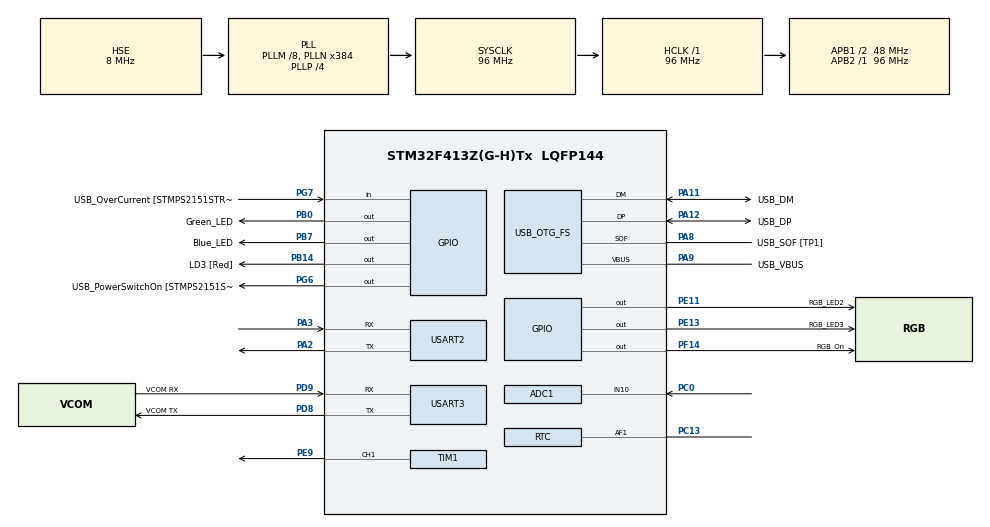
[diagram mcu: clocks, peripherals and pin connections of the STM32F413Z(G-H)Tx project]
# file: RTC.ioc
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ADC1.Channel-0\#ChannelRegularConversion=ADC_CHANNEL_10
ADC1.ContinuousConvMode=ENABLE
ADC1.DMAContinuousRequests=ENABLE
ADC1.NbrOfConversionFlag=1
ADC1.Rank-0\#ChannelRegularConversion=1
ADC1.SamplingTime-0\#ChannelRegularConversion=ADC_SAMPLETIME_144CYCLES
ADC1.master=1
Dma.ADC1.0.Direction=DMA_PERIPH_TO_MEMORY
Dma.ADC1.0.FIFOMode=DMA_FIFOMODE_DISABLE
Dma.ADC1.0.Instance=DMA2_Stream0
Dma.ADC1.0.MemDataAlignment=DMA_MDATAALIGN_HALFWORD
Dma.ADC1.0.MemInc=DMA_MINC_DISABLE
Dma.ADC1.0.Mode=DMA_CIRCULAR
Dma.ADC1.0.PeriphDataAlignment=DMA_PDATAALIGN_HALFWORD
Dma.ADC1.0.PeriphInc=DMA_PINC_DISABLE
Dma.ADC1.0.Priority=DMA_PRIORITY_LOW
Dma.Request0=ADC1
Dma.Request1=TIM1_CH1
Dma.TIM1_CH1.1.Direction=DMA_MEMORY_TO_PERIPH
Dma.TIM1_CH1.1.FIFOMode=DMA_FIFOMODE_DISABLE
Dma.TIM1_CH1.1.Instance=DMA2_Stream1
Dma.TIM1_CH1.1.MemDataAlignment=DMA_MDATAALIGN_HALFWORD
Dma.TIM1_CH1.1.MemInc=DMA_MINC_DISABLE
Dma.TIM1_CH1.1.Mode=DMA_CIRCULAR
Dma.TIM1_CH1.1.PeriphDataAlignment=DMA_PDATAALIGN_HALFWORD
Dma.TIM1_CH1.1.PeriphInc=DMA_PINC_DISABLE
Dma.TIM1_CH1.1.Priority=DMA_PRIORITY_LOW
Mcu.Family=STM32F4
Mcu.Name=STM32F413Z(G-H)Tx
Mcu.Package=LQFP144
NVIC.DMA2_Stream0_IRQn=true\:0\:0\:false\:false\:true\:false\:true
NVIC.DMA2_Stream1_IRQn=true\:0\:0\:false\:false\:true\:false\:true
NVIC.PriorityGroup=NVIC_PRIORITYGROUP_2
NVIC.RCC_IRQn=true\:2\:0\:true\:false\:true\:true\:false
NVIC.RTC_Alarm_IRQn=true\:0\:0\:false\:false\:true\:true\:true
NVIC.USART2_IRQn=true\:1\:0\:true\:false\:true\:true\:true
NVIC.USART3_IRQn=true\:1\:0\:true\:false\:true\:true\:true
PA10.GPIO_Label=USB_ID
PA10.Signal=USB_OTG_FS_ID
PA11.GPIO_Label=USB_DM
PA11.Mode=Device_Only
PA11.Signal=USB_OTG_FS_DM
PA12.GPIO_Label=USB_DP
PA12.Mode=Device_Only
PA12.Signal=USB_OTG_FS_DP
PA13.GPIO_Label=TMS
PA13.Mode=Serial_Wire
PA13.Signal=SYS_JTMS-SWDIO
PA14.GPIO_Label=TCK
PA14.Mode=Serial_Wire
PA14.Signal=SYS_JTCK-SWCLK
PA2.Mode=Asynchronous
PA2.Signal=USART2_TX
PA3.Mode=Asynchronous
PA3.Signal=USART2_RX
PA8.GPIO_Label=USB_SOF [TP1]
PA8.Mode=Activate_SOF_FS
PA8.Signal=USB_OTG_FS_SOF
PA9.GPIO_Label=USB_VBUS
PA9.Mode=Activate_VBUS
PA9.Signal=USB_OTG_FS_VBUS
PB0.GPIO_Label=Green_LED
PB0.Signal=GPIO_Output
PB14.GPIO_Label=LD3 [Red]
PB14.Signal=GPIO_Output
PB3.GPIO_Label=SWO
PB3.Signal=SYS_JTDO-SWO
PB7.GPIO_Label=Blue_LED
PB7.Signal=GPIO_Output
PC0.Signal=ADCx_IN10
PC13.Mode=Timestamp enabled - Input Enabled to AF1
PC13.Signal=RTC_AF1
PC14-OSC32_IN.Mode=LSE-External-Oscillator
PC14-OSC32_IN.Signal=RCC_OSC32_IN
PC15-OSC32_OUT.Mode=LSE-External-Oscillator
PC15-OSC32_OUT.Signal=RCC_OSC32_OUT
PD8.GPIO_Label=VCOM TX
PD8.Mode=Asynchronous
PD8.Signal=USART3_TX
PD9.GPIO_Label=VCOM RX
PD9.Mode=Asynchronous
PD9.Signal=USART3_RX
PE11.GPIO_Label=RGB_LED2
PE11.Signal=GPIO_Output
PE13.GPIO_Label=RGB_LED3
PE13.Signal=GPIO_Output
PE9.Signal=S_TIM1_CH1
PF14.GPIO_Label=RGB_On
PF14.Signal=GPIO_Output
PG14.Signal=USART6_TX
PG6.GPIO_Label=USB_PowerSwitchOn [STMPS2151STR_EN]
PG6.Signal=GPIO_Output
PG7.GPIO_Label=USB_OverCurrent [STMPS2151STR_FAULT]
PG7.Signal=GPIO_Input
PG9.Signal=USART6_RX
PH0\ -\ OSC_IN.GPIO_Label=MCO
PH0\ -\ OSC_IN.Mode=HSE-External-Clock-Source
PH0\ -\ OSC_IN.Signal=RCC_OSC_IN
PH1\ -\ OSC_OUT.Mode=HSE-External-Clock-Source
PH1\ -\ OSC_OUT.Signal=RCC_OSC_OUT
ProjectManager.HeapSize=0x00
ProjectManager.StackSize=0x400
ProjectManager.TargetToolchain=MDK-ARM V5
RCC.48MHZClocksFreq_Value=24000000
RCC.AHBFreq_Value=96000000
RCC.APB1CLKDivider=RCC_HCLK_DIV2
RCC.APB1Freq_Value=48000000
RCC.APB1TimFreq_Value=96000000
RCC.APB2Freq_Value=96000000
RCC.APB2TimFreq_Value=96000000
RCC.CortexFreq_Value=96000000
RCC.HCLKFreq_Value=96000000
RCC.HSE_VALUE=8000000
RCC.HSI_VALUE=16000000
RCC.PLLM=8
RCC.PLLMUL=RCC_PLL_MUL9
RCC.PLLN=384
RCC.PLLP=RCC_PLLP_DIV4
RCC.PLLQ=8
RCC.PRESCALERUSB=RCC_USBCLKSOURCE_PLL_DIV1_5
RCC.SYSCLKFreq_VALUE=96000000
RCC.SYSCLKSource=RCC_SYSCLKSOURCE_PLLCLK
RCC.SYSCLKSourceVirtual=RCC_SYSCLKSOURCE_PLLCLK
RCC.USBFreq_Value=48000000
RCC.VCOOutputFreq_Value=384000000
RTC.Alarm=RTC_ALARM_A
RTC.AlarmDateWeekDay=RTC_WEEKDAY_FRIDAY
RTC.AlarmDateWeekDaySel=RTC_ALARMDATEWEEKDAYSEL_WEEKDAY
RTC.Date=17
RTC.Hours_A=0
RTC.Month=RTC_MONTH_MAY
RTC.Seconds_A=15
RTC.TimeStampPin=RTC_TIMESTAMPPIN_DEFAULT
RTC.WeekDay=RTC_WEEKDAY_FRIDAY
SH.ADCx_IN10.0=ADC1_IN10,IN10
SH.S_TIM1_CH1.0=TIM1_CH1,PWM Generation1 CH1
TIM1.Channel-PWM\ Generation1\ CH1=TIM_CHANNEL_1
TIM1.Period=4095
TIM1.Prescaler=9600
TIM1.Pulse-PWM\ Generation1\ CH1=4999
USART2.VirtualMode=VM_ASYNC
USART3.VirtualMode=VM_ASYNC
USB_OTG_FS.VirtualMode=Device_Only
VP_RTC_VS_RTC_Activate.Mode=RTC_Enabled
VP_RTC_VS_RTC_Alarm_A_Intern.Mode=Alarm A
VP_RTC_VS_RTC_Calendar.Mode=RTC_Calendar
board=NUCLEO-F413ZH

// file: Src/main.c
/* USER CODE BEGIN Header */
/**
  ******************************************************************************
  * @file           : main.c
  * @brief          : Main program body
  ******************************************************************************
  * @attention
  *
  * <h2><center>&copy; Copyright (c) 2019 STMicroelectronics.
  * All rights reserved.</center></h2>
  *
  * This software component is licensed by ST under BSD 3-Clause license,
  * the "License"; You may not use this file except in compliance with the
  * License. You may obtain a copy of the License at:
  *                        opensource.org/licenses/BSD-3-Clause
  *
  ******************************************************************************
  */
/* USER CODE END Header */

#include "main.h"

/* USER CODE BEGIN Includes */
#include <stdio.h>
#include <stdint.h>
#include <string.h>
#include "stm32f4xx_hal.h"
/* USER CODE END Includes */

ADC_HandleTypeDef hadc1;
DMA_HandleTypeDef hdma_adc1;

RTC_HandleTypeDef hrtc;

TIM_HandleTypeDef htim1;
DMA_HandleTypeDef hdma_tim1_ch1;

UART_HandleTypeDef huart2;
UART_HandleTypeDef huart3;

PCD_HandleTypeDef hpcd_USB_OTG_FS;

/* USER CODE BEGIN PV */
uint8_t aRxBuffer[20];
uint8_t aTxBuffer[20];
/* USER CODE END PV */

void SystemClock_Config(void);
static void MX_GPIO_Init(void);
static void MX_DMA_Init(void);
static void MX_USART3_UART_Init(void);
static void MX_USB_OTG_FS_PCD_Init(void);
static void MX_USART2_UART_Init(void);
static void MX_ADC1_Init(void);
static void MX_TIM1_Init(void);
static void MX_RTC_Init(void);

/* USER CODE BEGIN 0 */
char displayBuffer[9];
/* USER CODE END 0 */

int main(void)
{
  /* USER CODE BEGIN 1 */
	//uint8_t buffer[20];
  /* USER CODE END 1 */

  /* MCU Configuration--------------------------------------------------------*/

  /* Reset of all peripherals, Initializes the Flash interface and the Systick. */
  HAL_Init();

  /* Configure the system clock */
  SystemClock_Config();

  /* Initialize all configured peripherals */
  MX_GPIO_Init();
  MX_DMA_Init();
  MX_USART3_UART_Init();
  MX_USB_OTG_FS_PCD_Init();
  MX_USART2_UART_Init();
  MX_ADC1_Init();
  MX_TIM1_Init();
  MX_RTC_Init();
  /* USER CODE BEGIN 2 */
	HAL_UART_Transmit_IT(&huart3, (uint8_t *) aRxBuffer,20);
	HAL_UART_Transmit_IT(&huart2, (uint8_t *) aRxBuffer,20);
	HAL_UART_Receive_IT(&huart3, (uint8_t *) aRxBuffer,1);
	HAL_UART_Receive_IT(&huart2, (uint8_t *) aRxBuffer,1);

	lcd_gpio_setup();
	lcd_init();

  /* USER CODE END 2 */

  /* Infinite loop */
  while (1)
  {
		//uint8_t bla[] = "hallo welt\r\n";
		//HAL_UART_Receive_IT(
  }
}

void SystemClock_Config(void)
{
  RCC_OscInitTypeDef RCC_OscInitStruct = {0};
  RCC_ClkInitTypeDef RCC_ClkInitStruct = {0};
  RCC_PeriphCLKInitTypeDef PeriphClkInitStruct = {0};

  /** Configure the main internal regulator output voltage
  */
  __HAL_RCC_PWR_CLK_ENABLE();
  __HAL_PWR_VOLTAGESCALING_CONFIG(PWR_REGULATOR_VOLTAGE_SCALE1);
  /** Initializes the CPU, AHB and APB busses clocks
  */
  RCC_OscInitStruct.OscillatorType = RCC_OSCILLATORTYPE_LSI|RCC_OSCILLATORTYPE_HSE;
  RCC_OscInitStruct.HSEState = RCC_HSE_BYPASS;
  RCC_OscInitStruct.LSIState = RCC_LSI_ON;
  RCC_OscInitStruct.PLL.PLLState = RCC_PLL_ON;
  RCC_OscInitStruct.PLL.PLLSource = RCC_PLLSOURCE_HSE;
  RCC_OscInitStruct.PLL.PLLM = 8;
  RCC_OscInitStruct.PLL.PLLN = 384;
  RCC_OscInitStruct.PLL.PLLP = RCC_PLLP_DIV4;
  RCC_OscInitStruct.PLL.PLLQ = 8;
  RCC_OscInitStruct.PLL.PLLR = 2;
  if (HAL_RCC_OscConfig(&RCC_OscInitStruct) != HAL_OK)
  {
    Error_Handler();
  }
  /** Initializes the CPU, AHB and APB busses clocks
  */
  RCC_ClkInitStruct.ClockType = RCC_CLOCKTYPE_HCLK|RCC_CLOCKTYPE_SYSCLK
                              |RCC_CLOCKTYPE_PCLK1|RCC_CLOCKTYPE_PCLK2;
  RCC_ClkInitStruct.SYSCLKSource = RCC_SYSCLKSOURCE_PLLCLK;
  RCC_ClkInitStruct.AHBCLKDivider = RCC_SYSCLK_DIV1;
  RCC_ClkInitStruct.APB1CLKDivider = RCC_HCLK_DIV2;
  RCC_ClkInitStruct.APB2CLKDivider = RCC_HCLK_DIV1;

  if (HAL_RCC_ClockConfig(&RCC_ClkInitStruct, FLASH_LATENCY_3) != HAL_OK)
  {
    Error_Handler();
  }
  PeriphClkInitStruct.PeriphClockSelection = RCC_PERIPHCLK_RTC|RCC_PERIPHCLK_CLK48;
  PeriphClkInitStruct.RTCClockSelection = RCC_RTCCLKSOURCE_LSI;
  PeriphClkInitStruct.Clk48ClockSelection = RCC_CLK48CLKSOURCE_PLLQ;
  if (HAL_RCCEx_PeriphCLKConfig(&PeriphClkInitStruct) != HAL_OK)
  {
    Error_Handler();
  }
}

static void MX_ADC1_Init(void)
{

  ADC_ChannelConfTypeDef sConfig = {0};

  /** Configure the global features of the ADC (Clock, Resolution, Data Alignment and number of conversion)
  */
  hadc1.Instance = ADC1;
  hadc1.Init.ClockPrescaler = ADC_CLOCK_SYNC_PCLK_DIV4;
  hadc1.Init.Resolution = ADC_RESOLUTION_12B;
  hadc1.Init.ScanConvMode = DISABLE;
  hadc1.Init.ContinuousConvMode = ENABLE;
  hadc1.Init.DiscontinuousConvMode = DISABLE;
  hadc1.Init.ExternalTrigConvEdge = ADC_EXTERNALTRIGCONVEDGE_NONE;
  hadc1.Init.ExternalTrigConv = ADC_SOFTWARE_START;
  hadc1.Init.DataAlign = ADC_DATAALIGN_RIGHT;
  hadc1.Init.NbrOfConversion = 1;
  hadc1.Init.DMAContinuousRequests = ENABLE;
  hadc1.Init.EOCSelection = ADC_EOC_SINGLE_CONV;
  if (HAL_ADC_Init(&hadc1) != HAL_OK)
  {
    Error_Handler();
  }
  /** Configure for the selected ADC regular channel its corresponding rank in the sequencer and its sample time.
  */
  sConfig.Channel = ADC_CHANNEL_10;
  sConfig.Rank = 1;
  sConfig.SamplingTime = ADC_SAMPLETIME_144CYCLES;
  if (HAL_ADC_ConfigChannel(&hadc1, &sConfig) != HAL_OK)
  {
    Error_Handler();
  }

}

static void MX_RTC_Init(void)
{

  RTC_TimeTypeDef sTime = {0};
  RTC_DateTypeDef sDate = {0};
  RTC_AlarmTypeDef sAlarm = {0};

  /** Initialize RTC Only
  */
  hrtc.Instance = RTC;
  hrtc.Init.HourFormat = RTC_HOURFORMAT_24;
  hrtc.Init.AsynchPrediv = 127;
  hrtc.Init.SynchPrediv = 255;
  hrtc.Init.OutPut = RTC_OUTPUT_DISABLE;
  hrtc.Init.OutPutPolarity = RTC_OUTPUT_POLARITY_HIGH;
  hrtc.Init.OutPutType = RTC_OUTPUT_TYPE_OPENDRAIN;
  if (HAL_RTC_Init(&hrtc) != HAL_OK)
  {
    Error_Handler();
  }

  /** Initialize RTC and set the Time and Date
  */
  sTime.Hours = 0x0;
  sTime.Minutes = 0x0;
  sTime.Seconds = 0x0;
  sTime.DayLightSaving = RTC_DAYLIGHTSAVING_NONE;
  sTime.StoreOperation = RTC_STOREOPERATION_RESET;
  if (HAL_RTC_SetTime(&hrtc, &sTime, RTC_FORMAT_BCD) != HAL_OK)
  {
    Error_Handler();
  }
  sDate.WeekDay = RTC_WEEKDAY_FRIDAY;
  sDate.Month = RTC_MONTH_MAY;
  sDate.Date = 0x17;
  sDate.Year = 0x0;

  if (HAL_RTC_SetDate(&hrtc, &sDate, RTC_FORMAT_BCD) != HAL_OK)
  {
    Error_Handler();
  }
  /** Enable the Alarm A
  */
  sAlarm.AlarmTime.Hours = 0x0;
  sAlarm.AlarmTime.Minutes = 0x0;
  sAlarm.AlarmTime.Seconds = 0x15;
  sAlarm.AlarmTime.SubSeconds = 0x0;
  sAlarm.AlarmTime.DayLightSaving = RTC_DAYLIGHTSAVING_NONE;
  sAlarm.AlarmTime.StoreOperation = RTC_STOREOPERATION_RESET;
  sAlarm.AlarmMask = RTC_ALARMMASK_NONE;
  sAlarm.AlarmSubSecondMask = RTC_ALARMSUBSECONDMASK_ALL;
  sAlarm.AlarmDateWeekDaySel = RTC_ALARMDATEWEEKDAYSEL_WEEKDAY;
  sAlarm.AlarmDateWeekDay = RTC_WEEKDAY_FRIDAY;
  sAlarm.Alarm = RTC_ALARM_A;
  if (HAL_RTC_SetAlarm_IT(&hrtc, &sAlarm, RTC_FORMAT_BCD) != HAL_OK)
  {
    Error_Handler();
  }
  /** Enable the TimeStamp
  */
  if (HAL_RTCEx_SetTimeStamp(&hrtc, RTC_TIMESTAMPEDGE_RISING, RTC_TIMESTAMPPIN_DEFAULT) != HAL_OK)
  {
    Error_Handler();
  }

}

static void MX_TIM1_Init(void)
{

  TIM_MasterConfigTypeDef sMasterConfig = {0};
  TIM_OC_InitTypeDef sConfigOC = {0};
  TIM_BreakDeadTimeConfigTypeDef sBreakDeadTimeConfig = {0};

  htim1.Instance = TIM1;
  htim1.Init.Prescaler = 9600;
  htim1.Init.CounterMode = TIM_COUNTERMODE_UP;
  htim1.Init.Period = 4095;
  htim1.Init.ClockDivision = TIM_CLOCKDIVISION_DIV1;
  htim1.Init.RepetitionCounter = 0;
  htim1.Init.AutoReloadPreload = TIM_AUTORELOAD_PRELOAD_DISABLE;
  if (HAL_TIM_PWM_Init(&htim1) != HAL_OK)
  {
    Error_Handler();
  }
  sMasterConfig.MasterOutputTrigger = TIM_TRGO_RESET;
  sMasterConfig.MasterSlaveMode = TIM_MASTERSLAVEMODE_DISABLE;
  if (HAL_TIMEx_MasterConfigSynchronization(&htim1, &sMasterConfig) != HAL_OK)
  {
    Error_Handler();
  }
  sConfigOC.OCMode = TIM_OCMODE_PWM1;
  sConfigOC.Pulse = 4999;
  sConfigOC.OCPolarity = TIM_OCPOLARITY_HIGH;
  sConfigOC.OCNPolarity = TIM_OCNPOLARITY_HIGH;
  sConfigOC.OCFastMode = TIM_OCFAST_DISABLE;
  sConfigOC.OCIdleState = TIM_OCIDLESTATE_RESET;
  sConfigOC.OCNIdleState = TIM_OCNIDLESTATE_RESET;
  if (HAL_TIM_PWM_ConfigChannel(&htim1, &sConfigOC, TIM_CHANNEL_1) != HAL_OK)
  {
    Error_Handler();
  }
  sBreakDeadTimeConfig.OffStateRunMode = TIM_OSSR_DISABLE;
  sBreakDeadTimeConfig.OffStateIDLEMode = TIM_OSSI_DISABLE;
  sBreakDeadTimeConfig.LockLevel = TIM_LOCKLEVEL_OFF;
  sBreakDeadTimeConfig.DeadTime = 0;
  sBreakDeadTimeConfig.BreakState = TIM_BREAK_DISABLE;
  sBreakDeadTimeConfig.BreakPolarity = TIM_BREAKPOLARITY_HIGH;
  sBreakDeadTimeConfig.AutomaticOutput = TIM_AUTOMATICOUTPUT_DISABLE;
  if (HAL_TIMEx_ConfigBreakDeadTime(&htim1, &sBreakDeadTimeConfig) != HAL_OK)
  {
    Error_Handler();
  }
  HAL_TIM_MspPostInit(&htim1);

}

static void MX_USART2_UART_Init(void)
{

  huart2.Instance = USART2;
  huart2.Init.BaudRate = 115200;
  huart2.Init.WordLength = UART_WORDLENGTH_8B;
  huart2.Init.StopBits = UART_STOPBITS_1;
  huart2.Init.Parity = UART_PARITY_NONE;
  huart2.Init.Mode = UART_MODE_TX_RX;
  huart2.Init.HwFlowCtl = UART_HWCONTROL_NONE;
  huart2.Init.OverSampling = UART_OVERSAMPLING_16;
  if (HAL_UART_Init(&huart2) != HAL_OK)
  {
    Error_Handler();
  }

}

static void MX_USART3_UART_Init(void)
{

  huart3.Instance = USART3;
  huart3.Init.BaudRate = 115200;
  huart3.Init.WordLength = UART_WORDLENGTH_8B;
  huart3.Init.StopBits = UART_STOPBITS_1;
  huart3.Init.Parity = UART_PARITY_NONE;
  huart3.Init.Mode = UART_MODE_TX_RX;
  huart3.Init.HwFlowCtl = UART_HWCONTROL_NONE;
  huart3.Init.OverSampling = UART_OVERSAMPLING_16;
  if (HAL_UART_Init(&huart3) != HAL_OK)
  {
    Error_Handler();
  }

}

static void MX_USB_OTG_FS_PCD_Init(void)
{

  hpcd_USB_OTG_FS.Instance = USB_OTG_FS;
  hpcd_USB_OTG_FS.Init.dev_endpoints = 6;
  hpcd_USB_OTG_FS.Init.speed = PCD_SPEED_FULL;
  hpcd_USB_OTG_FS.Init.dma_enable = DISABLE;
  hpcd_USB_OTG_FS.Init.phy_itface = PCD_PHY_EMBEDDED;
  hpcd_USB_OTG_FS.Init.Sof_enable = ENABLE;
  hpcd_USB_OTG_FS.Init.low_power_enable = DISABLE;
  hpcd_USB_OTG_FS.Init.lpm_enable = DISABLE;
  hpcd_USB_OTG_FS.Init.battery_charging_enable = ENABLE;
  hpcd_USB_OTG_FS.Init.vbus_sensing_enable = ENABLE;
  hpcd_USB_OTG_FS.Init.use_dedicated_ep1 = DISABLE;
  if (HAL_PCD_Init(&hpcd_USB_OTG_FS) != HAL_OK)
  {
    Error_Handler();
  }

}

static void MX_DMA_Init(void)
{
  /* DMA controller clock enable */
  __HAL_RCC_DMA2_CLK_ENABLE();

  /* DMA interrupt init */
  /* DMA2_Stream0_IRQn interrupt configuration */
  HAL_NVIC_SetPriority(DMA2_Stream0_IRQn, 0, 0);
  HAL_NVIC_EnableIRQ(DMA2_Stream0_IRQn);
  /* DMA2_Stream1_IRQn interrupt configuration */
  HAL_NVIC_SetPriority(DMA2_Stream1_IRQn, 0, 0);
  HAL_NVIC_EnableIRQ(DMA2_Stream1_IRQn);

}

static void MX_GPIO_Init(void)
{
  GPIO_InitTypeDef GPIO_InitStruct = {0};

  /* GPIO Ports Clock Enable */
  __HAL_RCC_GPIOC_CLK_ENABLE();
  __HAL_RCC_GPIOH_CLK_ENABLE();
  __HAL_RCC_GPIOA_CLK_ENABLE();
  __HAL_RCC_GPIOB_CLK_ENABLE();
  __HAL_RCC_GPIOF_CLK_ENABLE();
  __HAL_RCC_GPIOE_CLK_ENABLE();
  __HAL_RCC_GPIOD_CLK_ENABLE();
  __HAL_RCC_GPIOG_CLK_ENABLE();

  /*Configure GPIO pin Output Level */
  HAL_GPIO_WritePin(GPIOB, Green_LED_Pin|LD3_Pin|Blue_LED_Pin, GPIO_PIN_RESET);

  /*Configure GPIO pin Output Level */
  HAL_GPIO_WritePin(RGB_On_GPIO_Port, RGB_On_Pin, GPIO_PIN_RESET);

  /*Configure GPIO pin Output Level */
  HAL_GPIO_WritePin(GPIOE, RGB_LED2_Pin|RGB_LED3_Pin, GPIO_PIN_RESET);

  /*Configure GPIO pin Output Level */
  HAL_GPIO_WritePin(USB_PowerSwitchOn_GPIO_Port, USB_PowerSwitchOn_Pin, GPIO_PIN_RESET);

  /*Configure GPIO pins : Green_LED_Pin LD3_Pin Blue_LED_Pin */
  GPIO_InitStruct.Pin = Green_LED_Pin|LD3_Pin|Blue_LED_Pin;
  GPIO_InitStruct.Mode = GPIO_MODE_OUTPUT_PP;
  GPIO_InitStruct.Pull = GPIO_NOPULL;
  GPIO_InitStruct.Speed = GPIO_SPEED_FREQ_LOW;
  HAL_GPIO_Init(GPIOB, &GPIO_InitStruct);

  /*Configure GPIO pin : RGB_On_Pin */
  GPIO_InitStruct.Pin = RGB_On_Pin;
  GPIO_InitStruct.Mode = GPIO_MODE_OUTPUT_PP;
  GPIO_InitStruct.Pull = GPIO_NOPULL;
  GPIO_InitStruct.Speed = GPIO_SPEED_FREQ_LOW;
  HAL_GPIO_Init(RGB_On_GPIO_Port, &GPIO_InitStruct);

  /*Configure GPIO pins : RGB_LED2_Pin RGB_LED3_Pin */
  GPIO_InitStruct.Pin = RGB_LED2_Pin|RGB_LED3_Pin;
  GPIO_InitStruct.Mode = GPIO_MODE_OUTPUT_PP;
  GPIO_InitStruct.Pull = GPIO_NOPULL;
  GPIO_InitStruct.Speed = GPIO_SPEED_FREQ_LOW;
  HAL_GPIO_Init(GPIOE, &GPIO_InitStruct);

  /*Configure GPIO pin : USB_PowerSwitchOn_Pin */
  GPIO_InitStruct.Pin = USB_PowerSwitchOn_Pin;
  GPIO_InitStruct.Mode = GPIO_MODE_OUTPUT_PP;
  GPIO_InitStruct.Pull = GPIO_NOPULL;
  GPIO_InitStruct.Speed = GPIO_SPEED_FREQ_LOW;
  HAL_GPIO_Init(USB_PowerSwitchOn_GPIO_Port, &GPIO_InitStruct);

  /*Configure GPIO pin : USB_OverCurrent_Pin */
  GPIO_InitStruct.Pin = USB_OverCurrent_Pin;
  GPIO_InitStruct.Mode = GPIO_MODE_INPUT;
  GPIO_InitStruct.Pull = GPIO_NOPULL;
  HAL_GPIO_Init(USB_OverCurrent_GPIO_Port, &GPIO_InitStruct);

  /*Configure GPIO pins : PG9 PG14 */
  GPIO_InitStruct.Pin = GPIO_PIN_9|GPIO_PIN_14;
  GPIO_InitStruct.Mode = GPIO_MODE_AF_PP;
  GPIO_InitStruct.Pull = GPIO_NOPULL;
  GPIO_InitStruct.Speed = GPIO_SPEED_FREQ_VERY_HIGH;
  GPIO_InitStruct.Alternate = GPIO_AF8_USART6;
  HAL_GPIO_Init(GPIOG, &GPIO_InitStruct);

}

/* USER CODE BEGIN 4 */
uint8_t reciveBuffer[20];
int counter = 0;
int showTemp = 1;
int showAlarm;

void printTemp() {
				lcd_clear();
				lcd_setcursor(0,1);
				lcd_string("Temp:");
				lcd_setcursor(0, 2);
				reciveBuffer[5] = '\0';
				lcd_string((char*)&reciveBuffer[0]);
}

void printHum() {
				lcd_clear();
				lcd_setcursor(0,1);
				lcd_string("Hum:");
				lcd_setcursor(0, 2);
				reciveBuffer[7] = '\0';
				lcd_string((char*)&reciveBuffer[5]);
}

void HAL_UART_RxCpltCallback(UART_HandleTypeDef *huart){
		if (huart->Instance == USART2){
			HAL_UART_Receive_IT(&huart2, aRxBuffer, 1);
			reciveBuffer[counter] = *aRxBuffer;
			if(reciveBuffer[counter] == '\n')
			{
				HAL_UART_Transmit(&huart3, reciveBuffer, counter, HAL_MAX_DELAY);
				uint8_t bla[] = "\r\n";
				HAL_UART_Transmit(&huart3, bla, 2, HAL_MAX_DELAY);

				if (reciveBuffer[7] == '1')
				{
					lcd_clear();
					lcd_setcursor(0,1);
					lcd_string("ALARM!");
				} else {
					if(showTemp)
					{
						showTemp = 0;
						printTemp();
						showAlarm = (int)reciveBuffer[7] - 49;
					} else {
						showTemp = 1;
						printHum();
					}
				}

				counter = 0;
			} else
				counter++;
		} else {
			HAL_UART_Receive_IT(&huart3, aTxBuffer,1);
			HAL_UART_Transmit(&huart2, aTxBuffer, 1, HAL_MAX_DELAY);
		}
}

static __IO uint32_t uwTimingDelay;
void lcd_gpio_setup (void)
{
	GPIO_InitTypeDef GPIO_InitStructure;

	  /* GPIO Ports Clock Enable */
  __HAL_RCC_GPIOA_CLK_ENABLE();
  __HAL_RCC_GPIOF_CLK_ENABLE();

  GPIO_InitStructure.Pin = LCD_D4 | LCD_D5 | LCD_D6 | LCD_D7;
  GPIO_InitStructure.Speed = GPIO_SPEED_FREQ_LOW;
  GPIO_InitStructure.Mode = GPIO_MODE_OUTPUT_PP;
  GPIO_InitStructure.Pull = GPIO_NOPULL;
  HAL_GPIO_Init(PortData, &GPIO_InitStructure);

	GPIO_InitStructure.Pin = LCD_RS | LCD_RW | LCD_E ;
  HAL_GPIO_Init(PortCnt, &GPIO_InitStructure);
}

////////////////////////////////////////////////////////////////////////////////
// Erzeugt einen Enable-Puls
static void lcd_enable( void )
{
    HAL_GPIO_WritePin(PortCnt, LCD_E,1);
    HAL_Delay( LCD_ENABLE_US );
    HAL_GPIO_WritePin(PortCnt, LCD_E,0);
	  HAL_Delay(LCD_ENABLE_US );
}

////////////////////////////////////////////////////////////////////////////////
// Sendet eine 4-bit Ausgabeoperation an das LCD
static void lcd_out( int zahl )
{
int i, j, stelle, mod, snap;
int bit[8];
int nibblesLOW[4];
int nibblesHIGH[4];

    stelle = 0;

 	for (i=0; i<=7 ; i++)
 		{
 		mod=zahl%2;
 		bit[stelle]=mod;

		if (stelle<=3)
		   {
		   nibblesLOW[stelle]=bit[stelle];
		   }
        else
			 {
			 snap = stelle - 4;
			 nibblesHIGH[snap]=bit[stelle];
			 }

 		stelle = stelle + 1;
 		zahl = zahl/2;
		}

    if (nibblesHIGH[0]==1) HAL_GPIO_WritePin(PortData, LCD_D4,1);
    else HAL_GPIO_WritePin(PortData, LCD_D4,0);

    if (nibblesHIGH[1]==1) HAL_GPIO_WritePin(PortData, LCD_D5,1);
    else HAL_GPIO_WritePin(PortData, LCD_D5,0);

    if (nibblesHIGH[2]==1) HAL_GPIO_WritePin(PortData, LCD_D6,1);
    else HAL_GPIO_WritePin(PortData, LCD_D6,0);

    if (nibblesHIGH[3]==1) HAL_GPIO_WritePin(PortData, LCD_D7,1);
    else HAL_GPIO_WritePin(PortData, LCD_D7,0);

    lcd_enable();

    if (nibblesLOW[0]==1) HAL_GPIO_WritePin(PortData, LCD_D4,1);
    else HAL_GPIO_WritePin(PortData, LCD_D4,0);

    if (nibblesLOW[1]==1) HAL_GPIO_WritePin(PortData, LCD_D5,1);
    else HAL_GPIO_WritePin(PortData, LCD_D5,0);

    if (nibblesLOW[2]==1) HAL_GPIO_WritePin(PortData, LCD_D6,1);
    else HAL_GPIO_WritePin(PortData, LCD_D6,0);

    if (nibblesLOW[3]==1) HAL_GPIO_WritePin(PortData, LCD_D7,1);
    else HAL_GPIO_WritePin(PortData, LCD_D7,0);

    lcd_enable();
}

 ////////////////////////////////////////////////////////////////////////////////
// Sendet ein Datenbyte an das LCD
void lcd_data ( int zahl )
{
    HAL_GPIO_WritePin(PortCnt, LCD_RS,1);         //(RS: 1=Data, 0=Command)
    lcd_out( zahl );
    HAL_Delay( LCD_WRITEDATA_US );
}

////////////////////////////////////////////////////////////////////////////////
// Sendet einen Befehl an das LCD
void lcd_command( int zahl )
{
    HAL_GPIO_WritePin(PortCnt, LCD_RS,0);         //(RS: 1=Data, 0=Command)
    lcd_out( zahl );
    HAL_Delay( LCD_COMMAND_US );
}
////////////////////////////////////////////////////////////////////////////////
// Initialisierung: muss ganz am Anfang des Programms aufgerufen werden.
void lcd_init( void )
{

    //alles auf '0' setzen
    HAL_GPIO_WritePin(PortCnt, LCD_RS,0);		//Register Select
    HAL_GPIO_WritePin(PortCnt, LCD_RW,0);		//Read Write
    HAL_GPIO_WritePin(PortCnt, LCD_E,0);		//Enable
    HAL_GPIO_WritePin(PortData, LCD_D3,0);	//DB0-D3
	  HAL_GPIO_WritePin(PortData, LCD_D4,0);	//DB4
    HAL_GPIO_WritePin(PortData, LCD_D5,0);	//DB5
    HAL_GPIO_WritePin(PortData, LCD_D6,0);	//DB6
    HAL_GPIO_WritePin(PortData, LCD_D7,0);	//DB7

    // warten auf die Bereitschaft des LCD
    HAL_Delay( LCD_BOOTUP_MS );

    // Soft-Reset muss 3mal hintereinander gesendet werden zur Initialisierung

    //lcd_out( LCD_8BIT_RESET );
    HAL_GPIO_WritePin(PortData, LCD_D4,0);	//DB4
    HAL_GPIO_WritePin(PortData, LCD_D5,1);	//DB5
    HAL_GPIO_WritePin(PortData, LCD_D6,0);	//DB6
    HAL_GPIO_WritePin(PortData, LCD_D7,0);	//DB7
		lcd_enable();
    HAL_Delay( LCD_SOFT_RESET_MS);

    lcd_enable();
    HAL_Delay( LCD_SOFT_RESET_MS);

    lcd_enable();
    HAL_Delay( LCD_SOFT_RESET_MS );

	//lcd_out( LCD_4BIT_RESET );
//       HAL_GPIO_WritePin(PortData, LCD_D4,0);	//DB4
//       HAL_GPIO_WritePin(PortData, LCD_D5,1);	//DB5
//       HAL_GPIO_WritePin(PortData, LCD_D6,0);	//DB6
//       HAL_GPIO_WritePin(PortData, LCD_D7,0);	//DB7
//    	lcd_enable();
//     HAL_Delay( LCD_SET_4BITMODE_MS );

	lcd_command( LCD_SET_FUNCTION +
                  LCD_FUNCTION_2LINE);

    HAL_Delay( LCD_SET_4BITMODE_MS );

	lcd_command( LCD_DISPLAY_ON +
                 LCD_CURSOR_ON //+
				 /*LCD_BLINKING_ON*/);

    HAL_Delay( LCD_SET_4BITMODE_MS );
}
////////////////////////////////////////////////////////////////////////////////
// Initialisierung: muss ganz am Anfang des Programms aufgerufen werden.
// void lcd_init( void )
// {

//     //alles auf '0' setzen
//     HAL_GPIO_WritePin(Port, LCD_E,0);
//     HAL_GPIO_WritePin(Port, LCD_RS,0);
//     HAL_GPIO_WritePin(Port, LCD_RW,0);
//     HAL_GPIO_WritePin(Port, LCD_D4,0);
//     HAL_GPIO_WritePin(Port, LCD_D5,0);
//     HAL_GPIO_WritePin(Port, LCD_D6,0);
//     HAL_GPIO_WritePin(Port, LCD_D7,0);
//

//     // warten auf die Bereitschaft des LCD
//     HAL_Delay( LCD_BOOTUP_MS );
//
//     // Soft-Reset muss 3mal hintereinander gesendet werden zur Initialisierung

//     lcd_out( LCD_4BIT_RESET );
//
//     HAL_Delay( LCD_SOFT_RESET_MS);

//     lcd_enable();
//     HAL_Delay( LCD_SOFT_RESET_MS);

//     lcd_enable();
//     HAL_Delay( LCD_SOFT_RESET_MS );
//
//
//     // 8-bit Modus / 2 Zeilen / 5x7
//     lcd_command( LCD_SET_FUNCTION +
//                  LCD_FUNCTION_8BIT +
//                  LCD_FUNCTION_2LINE +
//                  LCD_FUNCTION_5X7 );
//
//     HAL_Delay( LCD_SET_4BITMODE_MS );

//     // Display ein / Cursor ein / Blinken ein
//     lcd_command( LCD_SET_DISPLAY +
//                  LCD_DISPLAY_ON +
//                  LCD_CURSOR_ON +
//                  LCD_BLINKING_ON);

//     HAL_Delay( LCD_SET_4BITMODE_MS );
//
//     // Cursor inkrement / kein Scrollen =
//     lcd_command( LCD_SET_ENTRY +
//                  LCD_ENTRY_INCREASE +
//                  LCD_ENTRY_NOSHIFT );
//
//     HAL_Delay( LCD_SET_4BITMODE_MS );
//     lcd_clear();
// }
//
////////////////////////////////////////////////////////////////////////////////
// Setzt den Cursor in Zeile y (1..2) Spalte x (0..15)
void lcd_setcursor( uint8_t x, uint8_t y )// Setzt den Cursor in Zeile y (1..2) Spalte x (0..15)
{
    uint8_t data;

    switch (y)
    {
        case 1:    // 1. Zeile
            data = LCD_SET_DDADR + LCD_DDADR_LINE1 + x;
            break;

        case 2:    // 2. Zeile
            data = LCD_SET_DDADR + LCD_DDADR_LINE2 + x;
            break;

        default:
            return;                                   // für den Fall einer falschen Zeile
    }

    lcd_command( data );
}

////////////////////////////////////////////////////////////////////////////////
// Sendet den Befehl zur Löschung des Displays
void lcd_clear( void )
{
    lcd_command( LCD_CLEAR_DISPLAY );
    HAL_Delay( LCD_CLEAR_DISPLAY_MS );
}

////////////////////////////////////////////////////////////////////////////////
// Sendet den Befehl: Cursor Home
void lcd_home( void )
{
    lcd_command( LCD_CURSOR_HOME );
    HAL_Delay( LCD_CURSOR_HOME_MS );
}

////////////////////////////////////////////////////////////////////////////////
// Schreibt einen String auf das LCD

void lcd_string( const char *data )
{
    while( *data != '\0' )
        lcd_data( *data++ );
}

/* USER CODE END 4 */

void Error_Handler(void)
{
}

/************************ (C) COPYRIGHT STMicroelectronics *****END OF FILE****/
